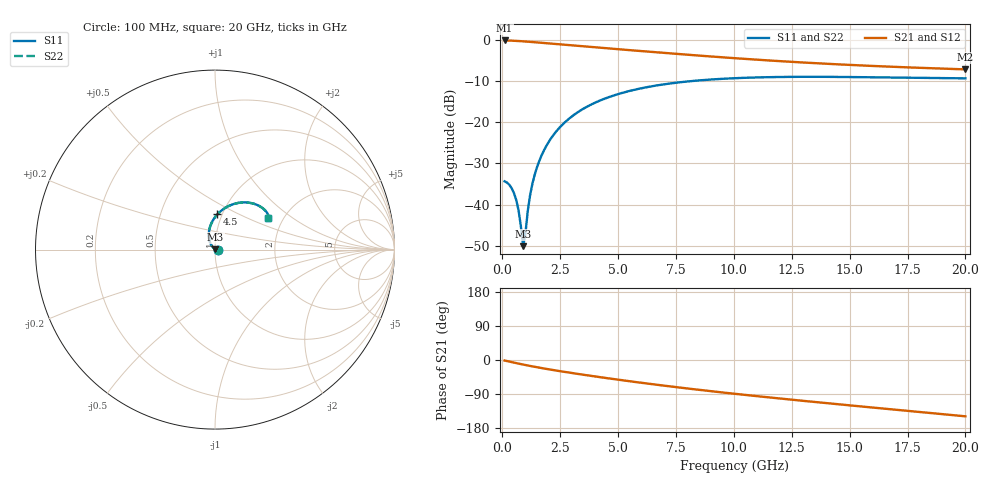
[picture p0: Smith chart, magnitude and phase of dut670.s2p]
! Touchstone file exported from HFSS 2024.1.0
!  File:  C:/UserFiles/LocalFiles/RDL_TSV_Batchsim/temp_RDL_TSV_670_1779814162.aedt
!  Generated:  01:01:57 AM May 27, 2026
!  Design:  RDL_TSV
!  Project:  temp_RDL_TSV_670_1779814162
!  Setup:  Setup1
!  Solution:  Sweep
! Variables:
!  dtsv = 13.83um
!  hbump = 3um
!  htsv = 60.63um
!  ldown = 102.67um
!  lrdl = 383.93um
!  p = 40
!  p1 = 44.83um
!  rhole = 10um
!  subl = 1843.73um
!  t = 450um
!  tdown = 3.51um
!  trdl = 2.42um
!  viad = 10um
!  wdown = 17.2um
!  wrdl = 12.3um
!  xbump = 18um
# GHz S MA R 50.000000
! Terminal data exported
! Port[1] = TM1_1_T1
! Port[2] = TM1_4_T1
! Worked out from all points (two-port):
!   200 points, 100 MHz to 20 GHz, reference 50 ohm
!   highest |S21| = -0.18 dB at 100 MHz (marker M1); lowest = -7.2 dB at 20 GHz (marker M2)
!   |S21| within 3 dB of the highest: start of sweep to 6.953 GHz
!   lowest |S11| = -50.0 dB at 900 MHz (marker M3), VSWR 1.01, Z = 50.2 + j0.225 ohm
!   |S11| at or under -10 dB: start of sweep to 8.224 GHz
!   |S22| runs from -50.3 to -9.0 dB; largest |S21 - S12| = 9.7e-15
!   S11 on the Smith chart (normalised r, x): 100 MHz: 1.04, -0.00; 4.5 GHz: 0.95, +0.39; 20 GHz: 1.67, +0.65
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0.1  0.01922 -1.4  0.9791 -1.4  0.9791 -1.4  0.0192 -1.5
! Gamma 0 0 0 0
! Port Impedance 50 0 50 0
0.4  0.01595 -5.4  0.9737 -5.5  0.9737 -5.5  0.01592 -5.6
0.6  0.01149 -5.9  0.9676 -8.2  0.9676 -8.2  0.01144 -6.2
0.7  0.008643 -3.2  0.964 -9.5  0.964 -9.5  0.008587 -3.6
0.8  0.005569 6.7  0.96 -10.8  0.96 -10.8  0.005496 6.1
0.9  0.00315 45.4  0.9558 -12.0  0.9558 -12.0  0.003049 45.5
1  0.004508 106.2  0.9513 -13.3  0.9513 -13.3  0.004465 107.4
1.1  0.008411 124.7  0.9466 -14.5  0.9466 -14.5  0.008405 125.5
1.2  0.013 129.8  0.9417 -15.7  0.9417 -15.7  0.01301 130.4
1.3  0.01795 131.1  0.9367 -16.8  0.9367 -16.8  0.01797 131.5
1.5  0.02856 129.9  0.9265 -19.1  0.9265 -19.1  0.02859 130.1
1.7  0.03985 127.0  0.9161 -21.3  0.9161 -21.3  0.03988 127.2
2  0.05752 121.9  0.9005 -24.5  0.9005 -24.5  0.05757 122.0
2.4  0.08164 114.9  0.8803 -28.6  0.8803 -28.6  0.08169 115.1
2.9  0.1115 106.9  0.8563 -33.4  0.8563 -33.4  0.1116 107.0
3.5  0.1457 98.3  0.8291 -38.9  0.8291 -38.9  0.1457 98.4
4.5  0.1967 86.2  0.7868 -47.7  0.7868 -47.7  0.1968 86.2
6.8  0.2829 65.5  0.6986 -66.3  0.6986 -66.3  0.2829 65.5
10.1  0.3422 46.6  0.5952 -89.6  0.5952 -89.6  0.3423 46.6
13.4  0.3552 35.7  0.5216 -110.2  0.5216 -110.2  0.3552 35.7
16.7  0.3479 30.8  0.4716 -129.6  0.4716 -129.6  0.348 30.8
20  0.3401 30.6  0.437 -148.6  0.437 -148.6  0.3402 30.6
